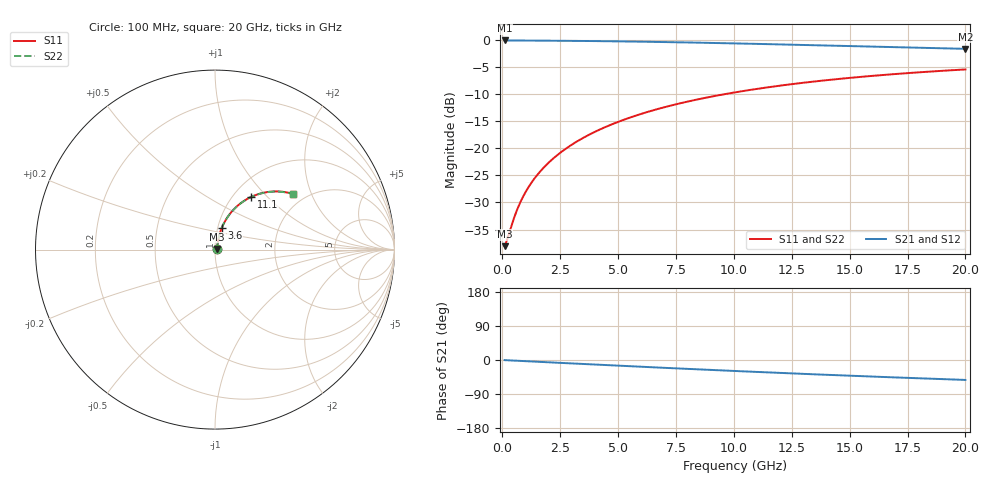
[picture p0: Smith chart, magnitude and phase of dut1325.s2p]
! Touchstone file exported from HFSS 2026.1.0
!  File:  C:/ffzhzh/LocalFiles/Ansys_Project_Files/temp_train_BSMRDL_1325_1783178593_51560.aedt
!  Generated:  11:24:26 PM Jul  4, 2026
!  Design:  BSMRDL
!  Project:  temp_train_BSMRDL_1325_1783178593_51560
! Variables:
!  h_bsmrdl = 2.09um
!  h_ox = 20um
!  h_rdl = 5um
!  h_sub = 80um
!  h_tmrdl = 5um
!  h_tsv = 80um
!  h_via = 3um
!  l_bsmrdl = 762.98um
!  l_sub = 1162.98um
!  l_tmrdl = 200um
!  m_sub = 200um
!  pitch = 34.06um
!  r_tsv = 6um
!  s_tmrdl = 10um
!  w_bsmrdl = 10.72um
!  w_sub = 500um
!  w_tmrdl = 12um
!  x_tsv_center1 = 206um
!  x_tsv_center2 = 979.7um
!  x_tsv_center3 = 1191.7um
!  x_tsv_center4 = 1965.4um
!  x_tsv_center5 = 2177.4um
!  x_tsv_center6 = 2951.1um
# GHz S MA R 50.000000
! Terminal data exported
! Port[1] = BSM_RDL1_1_T1
! Port[2] = BSM_RDL1_1_T2
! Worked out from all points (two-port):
!   200 points, 100 MHz to 20 GHz, reference 50 ohm
!   highest |S21| = -0.10 dB at 100 MHz (marker M1); lowest = -1.6 dB at 20 GHz (marker M2)
!   |S21| within 3 dB of the highest: start of sweep to end of sweep
!   lowest |S11| = -38.1 dB at 100 MHz (marker M3), VSWR 1.03, Z = 51.2 + j0.383 ohm
!   |S11| at or under -10 dB: start of sweep to 9.623 GHz
!   |S22| runs from -38.1 to -5.5 dB; largest |S21 - S12| = 4.2e-15
!   S11 on the Smith chart (normalised r, x): 100 MHz: 1.02, +0.01; 3.6 GHz: 1.05, +0.26; 11.1 GHz: 1.21, +0.81; 20 GHz: 1.72, +1.49
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0.1  0.01249 17.4  0.9881 -0.3  0.9881 -0.3  0.01249 17.4
! Gamma 0 0 0 0
! Port Impedance 50 0 50 0
0.2  0.01416 31.8  0.988 -0.6  0.988 -0.6  0.01416 31.8
0.5  0.0225 55.3  0.9875 -1.6  0.9875 -1.6  0.0225 55.3
0.7  0.02906 62.1  0.9871 -2.2  0.9871 -2.2  0.02906 62.1
0.8  0.03243 64.4  0.9868 -2.5  0.9868 -2.5  0.03243 64.4
1  0.03925 67.5  0.9863 -3.1  0.9863 -3.1  0.03925 67.5
1.3  0.04953 70.3  0.9854 -4.0  0.9854 -4.0  0.04953 70.3
1.7  0.06326 72.2  0.9843 -5.2  0.9843 -5.2  0.06326 72.2
2.2  0.08045 73.2  0.9827 -6.7  0.9827 -6.7  0.08045 73.2
2.8  0.101 73.3  0.9806 -8.5  0.9806 -8.5  0.101 73.3
3.5  0.1249 72.7  0.9776 -10.5  0.9776 -10.5  0.1249 72.7
3.6  0.1283 72.6  0.9771 -10.8  0.9771 -10.8  0.1283 72.6
4.3  0.1519 71.5  0.9736 -12.9  0.9736 -12.9  0.1519 71.5
5  0.1752 70.1  0.9695 -14.9  0.9695 -14.9  0.1752 70.1
5.9  0.2044 68.2  0.9636 -17.5  0.9636 -17.5  0.2045 68.1
6.8  0.2329 66.1  0.9569 -20.1  0.9569 -20.1  0.2329 66.0
8.3  0.2784 62.4  0.9445 -24.3  0.9445 -24.3  0.2784 62.4
10.1  0.3293 58.0  0.9277 -29.2  0.9277 -29.2  0.3293 57.9
11.1  0.3558 55.5  0.9177 -31.8  0.9177 -31.8  0.3558 55.5
13.4  0.4115 50.0  0.8939 -37.6  0.8939 -37.6  0.4115 49.9
16.7  0.4793 42.5  0.8595 -45.4  0.8595 -45.4  0.4793 42.4
20  0.5337 35.5  0.827 -52.6  0.827 -52.6  0.5338 35.4
